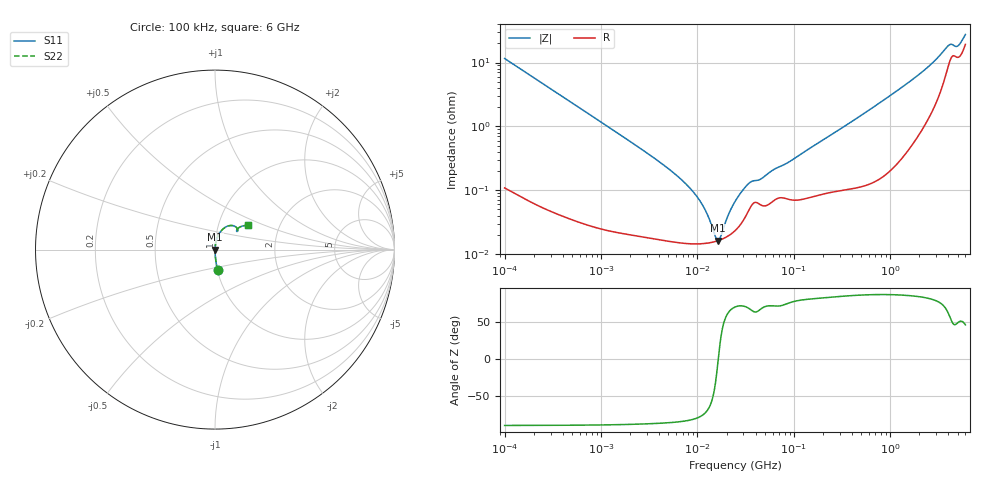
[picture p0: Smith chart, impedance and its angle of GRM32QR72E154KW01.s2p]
!Murata Part Number: GRM32QR72E154KW01
!These Parameters are Measured in Series Mode Connection
!Data Generated on Mar 30, 2021
!  o--ll--o
!Port1  Port2
!  o------o
!Operation Temp=25[degC], DC Bias Voltage=0[V]
!Freq. Start=100[kHz] Stop=6[GHz] 401[Steps]
# Hz S RI R 50
!Freq.(Hz) S11(Real) S11(Imag) S21(Real) S21(Imag) S12(Real) S12(Imag) S22(Real) S22(Imag)
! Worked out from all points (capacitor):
!   401 points, 100 kHz to 6 GHz, reference 50 ohm
!   read as one part in series: C = 137 nF near 105.7 kHz
!   lowest |Z| = 16.3 mohm at 16.21 MHz (marker M1)
!   series resonance near 16.44 MHz, so ESL is about 680 pH
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100000  0.0143 -0.114  0.9857 0.114  0.9857 0.114  0.0143 -0.114
631452  0.000645 -0.0185  0.9994 0.0185  0.9994 0.0185  0.000645 -0.0185
3987316  0.000176 -0.00281  0.9998 0.00281  0.9998 0.00281  0.000176 -0.00281
6724235  0.000151 -0.00148  0.9998 0.00148  0.9998 0.00148  0.000151 -0.00148
9614634  0.000145 -0.000826  0.9999 0.000826  0.9999 0.000826  0.000145 -0.000826
1.198108e7  0.000147 -0.000474  0.9999 0.000474  0.9999 0.000474  0.000147 -0.000474
1.534632e7  0.000157 -0.000102  0.9998 0.000102  0.9998 0.000102  0.000157 -0.000102
1.621418e7  0.000161 -2.01e-05  0.9998 2.01e-05  0.9998 2.01e-05  0.000161 -2.01e-05
1.713112e7  0.000166 6.19e-05  0.9998 -6.19e-05  0.9998 -6.19e-05  0.000166 6.19e-05
2.134758e7  0.000197 0.000398  0.9998 -0.000398  0.9998 -0.000398  0.000197 0.000398
2.517799e7  0.000242 0.000668  0.9998 -0.000668  0.9998 -0.000668  0.000242 0.000668
3.05238e7  0.000356 0.00101  0.9996 -0.00101  0.9996 -0.00101  0.000356 0.00101
3.502398e7  0.000525 0.00121  0.9995 -0.00121  0.9995 -0.00121  0.000525 0.00121
4.611257e7  0.000581 0.0014  0.9994 -0.0014  0.9994 -0.0014  0.000581 0.0014
6.07118e7  0.000675 0.00196  0.9993 -0.00196  0.9993 -0.00196  0.000675 0.00196
8.680865e7  0.00073 0.00261  0.9993 -0.00261  0.9993 -0.00261  0.00073 0.00261
1.546735e8  0.000807 0.00472  0.9992 -0.00472  0.9992 -0.00472  0.000807 0.00472
9.76689e8  0.00283 0.0295  0.9972 -0.0295  0.9972 -0.0295  0.00283 0.0295
2.855131e9  0.0297 0.0982  0.9703 -0.0982  0.9703 -0.0982  0.0297 0.0982
3.971646e9  0.0992 0.1337  0.9008 -0.1337  0.9008 -0.1337  0.0992 0.1337
4.949184e9  0.1201 0.105  0.8799 -0.105  0.8799 -0.105  0.1201 0.105
6e9  0.1838 0.1346  0.8162 -0.1346  0.8162 -0.1346  0.1838 0.1346
